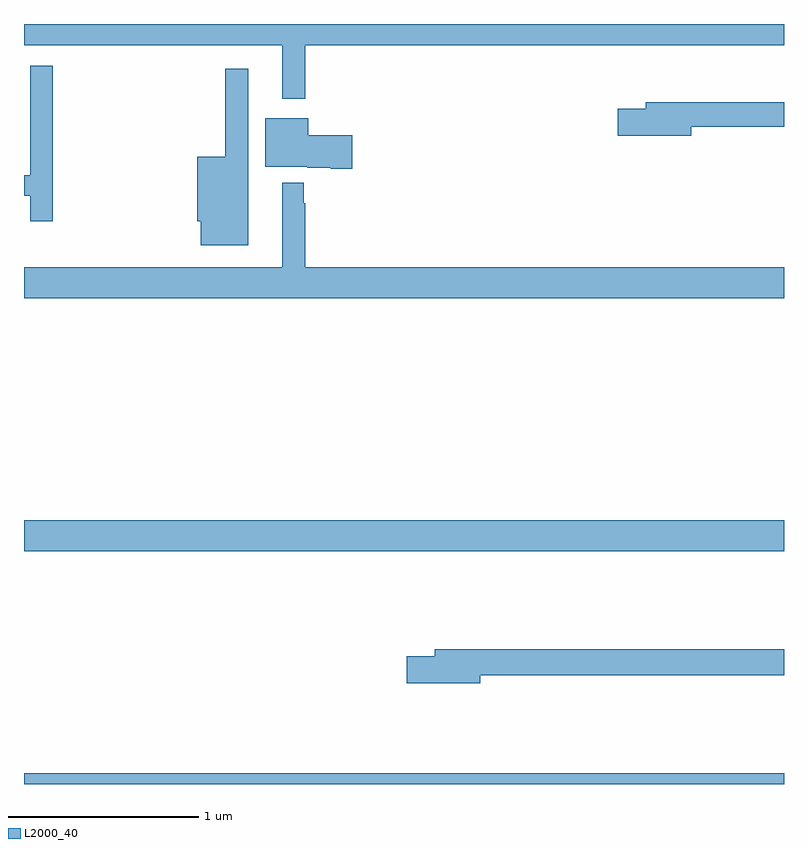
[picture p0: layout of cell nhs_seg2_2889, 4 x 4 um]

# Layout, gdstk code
import gdstk
lib = gdstk.Library(unit=1e-6, precision=1e-09)
def R(c, l, rs):  # rectangles x0, y0, x1, y1
    for r in rs: c.add(gdstk.rectangle(r[:2], r[2:], *l))
def P(c, l, *ps):  # polygons
    for p in ps: c.add(gdstk.Polygon(p, *l))
L2000_40 = (2000, 40)

nhs_seg2_2889 = lib.new_cell('nhs_seg2_2889')
R(nhs_seg2_2889, L2000_40, [(263,591.8,267,591.856), (263,593.024,267,593.188)])
P(nhs_seg2_2889, L2000_40, [(264.481,595.688),(267,595.688),(267,595.8),(263,595.8),(263,595.688),(264.359,595.688),(264.359,595.407),(264.481,595.407)],
  [(263.15,595.579),(263.034,595.579),(263.034,595.005),(263,595.005),(263,594.897),(263.033,594.897),(263.033,594.762),(263.15,594.762)],
  [(264.181,595.564),(264.06,595.564),(264.06,595.102),(263.912,595.102),(263.912,594.762),(263.93,594.762),(263.93,594.635),(264.181,594.635)],
  [(266.512,595.258),(267,595.258),(267,595.387),(266.273,595.387),(266.273,595.353),(266.124,595.353),(266.124,595.211),(266.512,595.211)],
  [(264.727,595.215),(264.496,595.215),(264.496,595.303),(264.269,595.303),(264.269,595.049),(264.492,595.049),(264.492,595.043),(264.614,595.043),(264.614,595.037),(264.727,595.037)],
  [(267,594.52),(264.481,594.52),(264.481,594.857),(264.473,594.857),(264.473,594.964),(264.359,594.964),(264.359,594.52),(263,594.52),(263,594.356),(267,594.356)],
  [(265.402,592.372),(267,592.372),(267,592.508),(265.163,592.508),(265.163,592.472),(265.014,592.472),(265.014,592.33),(265.402,592.33)])

lib.write_gds('nhs_seg2_2889.gds')
